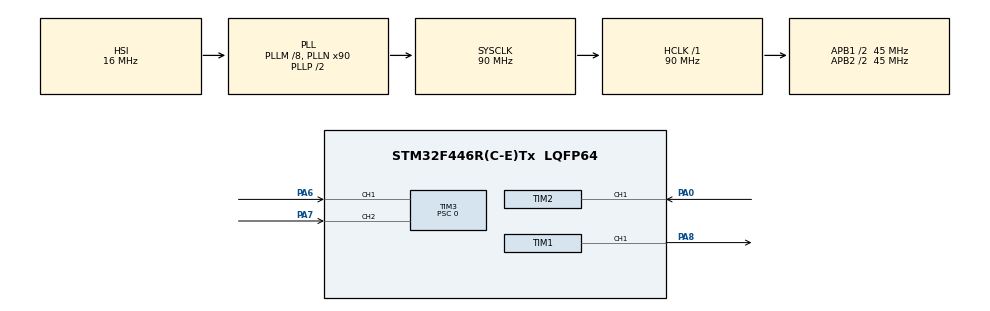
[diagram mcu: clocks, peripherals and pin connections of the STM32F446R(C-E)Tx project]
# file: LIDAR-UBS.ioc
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Mcu.Family=STM32F4
Mcu.Name=STM32F446R(C-E)Tx
Mcu.Package=LQFP64
NVIC.PriorityGroup=NVIC_PRIORITYGROUP_0
NVIC.TIM2_IRQn=true\:0\:1\:false\:false\:true\:true
NVIC.TIM4_IRQn=true\:0\:2\:false\:false\:true\:true
PA0-WKUP.Signal=S_TIM2_CH1_ETR
PA6.Signal=S_TIM3_CH1
PA7.Signal=S_TIM3_CH2
PA8.GPIO_Speed=GPIO_SPEED_FREQ_HIGH
PA8.Signal=S_TIM1_CH1
PH0-OSC_IN.Mode=HSE-External-Oscillator
PH0-OSC_IN.Signal=RCC_OSC_IN
PH1-OSC_OUT.Mode=HSE-External-Oscillator
PH1-OSC_OUT.Signal=RCC_OSC_OUT
ProjectManager.HeapSize=0x200
ProjectManager.StackSize=0x400
ProjectManager.TargetToolchain=MDK-ARM V5
RCC.AHBFreq_Value=90000000
RCC.APB1CLKDivider=RCC_HCLK_DIV2
RCC.APB1Freq_Value=45000000
RCC.APB1TimFreq_Value=90000000
RCC.APB2CLKDivider=RCC_HCLK_DIV2
RCC.APB2Freq_Value=45000000
RCC.APB2TimFreq_Value=90000000
RCC.CortexFreq_Value=90000000
RCC.FLatency-AdvancedSettings=FLASH_LATENCY_2
RCC.HCLKFreq_Value=90000000
RCC.HSE_VALUE=8000000
RCC.HSI_VALUE=16000000
RCC.LSE_VALUE=32768
RCC.PLLM=8
RCC.PLLN=90
RCC.SYSCLKFreq_VALUE=90000000
RCC.SYSCLKSource=RCC_SYSCLKSOURCE_PLLCLK
RCC.USBFreq_Value=90000000
RCC.VCOOutputFreq_Value=180000000
SH.S_TIM1_CH1.0=TIM1_CH1,PWM Generation1 CH1
SH.S_TIM2_CH1_ETR.0=TIM2_CH1,Input_Capture1_from_TI1
SH.S_TIM3_CH1.0=TIM3_CH1,Encoder_Interface
SH.S_TIM3_CH2.0=TIM3_CH2,Encoder_Interface
TIM1.Channel-PWM\ Generation1\ CH1=TIM_CHANNEL_1
TIM1.Period=1800-1
TIM1.Prescaler=1000-1
TIM1.Pulse-PWM\ Generation1\ CH1=500
TIM2.Channel-Input_Capture1_from_TI1=TIM_CHANNEL_1
TIM2.ICFilter_CH1=15
TIM2.Period=40000-1
TIM2.Prescaler=90-1
TIM3.EncoderMode=TIM_ENCODERMODE_TI12
TIM3.Period=8256
TIM3.Prescaler=0
TIM4.Period=10000-1
TIM4.Prescaler=9000-1
VP_TIM4_VS_ClockSourceINT.Mode=Internal
board=NUCLEO-F446RE

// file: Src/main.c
/**
  ******************************************************************************
  * @file           : main.c
  * @brief          : Main program body
  ******************************************************************************
  ** This notice applies to any and all portions of this file
  * that are not between comment pairs USER CODE BEGIN and
  * USER CODE END. Other portions of this file, whether
  * inserted by the user or by software development tools
  * are owned by their respective copyright owners.
  *
  * COPYRIGHT(c) 2018 STMicroelectronics
  *
  * Redistribution and use in source and binary forms, with or without modification,
  * are permitted provided that the following conditions are met:
  *   1. Redistributions of source code must retain the above copyright notice,
  *      this list of conditions and the following disclaimer.
  *   2. Redistributions in binary form must reproduce the above copyright notice,
  *      this list of conditions and the following disclaimer in the documentation
  *      and/or other materials provided with the distribution.
  *   3. Neither the name of STMicroelectronics nor the names of its contributors
  *      may be used to endorse or promote products derived from this software
  *      without specific prior written permission.
  *
  * THIS SOFTWARE IS PROVIDED BY THE COPYRIGHT HOLDERS AND CONTRIBUTORS "AS IS"
  * AND ANY EXPRESS OR IMPLIED WARRANTIES, INCLUDING, BUT NOT LIMITED TO, THE
  * IMPLIED WARRANTIES OF MERCHANTABILITY AND FITNESS FOR A PARTICULAR PURPOSE ARE
  * DISCLAIMED. IN NO EVENT SHALL THE COPYRIGHT HOLDER OR CONTRIBUTORS BE LIABLE
  * FOR ANY DIRECT, INDIRECT, INCIDENTAL, SPECIAL, EXEMPLARY, OR CONSEQUENTIAL
  * DAMAGES (INCLUDING, BUT NOT LIMITED TO, PROCUREMENT OF SUBSTITUTE GOODS OR
  * SERVICES; LOSS OF USE, DATA, OR PROFITS; OR BUSINESS INTERRUPTION) HOWEVER
  * CAUSED AND ON ANY THEORY OF LIABILITY, WHETHER IN CONTRACT, STRICT LIABILITY,
  * OR TORT (INCLUDING NEGLIGENCE OR OTHERWISE) ARISING IN ANY WAY OUT OF THE USE
  * OF THIS SOFTWARE, EVEN IF ADVISED OF THE POSSIBILITY OF SUCH DAMAGE.
  *
  ******************************************************************************
  */
#include "main.h"
#include "stm32f4xx_hal.h"

TIM_HandleTypeDef htim1;
TIM_HandleTypeDef htim2;
TIM_HandleTypeDef htim3;
TIM_HandleTypeDef htim4;

/* USER CODE BEGIN PV */
/* Private variables ---------------------------------------------------------*/

/* USER CODE END PV */

void SystemClock_Config(void);
static void MX_GPIO_Init(void);
static void MX_TIM2_Init(void);
static void MX_TIM1_Init(void);
static void MX_TIM3_Init(void);
static void MX_TIM4_Init(void);
void HAL_TIM_MspPostInit(TIM_HandleTypeDef *htim);

/* USER CODE BEGIN PFP */
/* Private function prototypes -----------------------------------------------*/
uint32_t IC1Valeur, Largeur, Vitesse, DistanceMax=200,VPWM,VPWM2; // Interrupt Capture Value 1, 2
float Distance,RPM2;
int RPM;
/* USER CODE END PFP */

/* USER CODE BEGIN 0 */
void HAL_TIM_IC_CaptureCallback(TIM_HandleTypeDef *htim)
	{
		if(htim -> Instance == TIM2)
			{// Si CH1 est en haut ou en bas
				if(htim -> Channel == HAL_TIM_ACTIVE_CHANNEL_1)
					{ // Si l'entrée de PWM capture est en haut
						if(HAL_GPIO_ReadPin(GPIOA, GPIO_PIN_0)==1)
							{
								TIM2 -> CCER |= TIM_CCER_CC1P;  // polarité de comparaison de sortie sur Bas
								TIM2 -> CNT = 0; // Reset du compteur
							}
						else
							{
								IC1Valeur = HAL_TIM_ReadCapturedValue(htim, TIM_CHANNEL_1); // Lecture de la valeur de CH1
								TIM2 -> CCER &= ~TIM_CCER_CC1P; // polarité de comparaison de sortie sur Haute
								Largeur = IC1Valeur;  // Largeur du signal
								Distance=Largeur/10;   //On divise la signal sur 10 afin d'obtenir la valeur en cm
								VPWM=(1800*Distance)/DistanceMax; //On modifie la distance maximal pour avoir un rapport du 100
								/**** Condition pour ne pas depasser la valeur PWM*/
								if(VPWM>1800)
									VPWM2=1800;
								else
									VPWM2=VPWM;

								TIM1->CCR1=VPWM2; //La valeur est asigné afin d'avoir la PWM
							}
					}
			}
	}
/* USER CODE END 0 */

int main(void)
{

  /* MCU Configuration----------------------------------------------------------*/

  /* Reset of all peripherals, Initializes the Flash interface and the Systick. */
  HAL_Init();

  /* Configure the system clock */
  SystemClock_Config();

  /* Initialize all configured peripherals */
  MX_GPIO_Init();
  MX_TIM2_Init();
  MX_TIM1_Init();
  MX_TIM3_Init();
  MX_TIM4_Init();
  /* USER CODE BEGIN 2 */
	HAL_TIM_PWM_Start(&htim1, TIM_CHANNEL_1); //lancement du PWM sortie
	HAL_TIM_IC_Start_IT(&htim2,TIM_CHANNEL_1); //lancement du PWM Capture
	HAL_TIM_Base_Start_IT(&htim4);	// Lancement du timer 4 afin d'avoir un interruption chaque 1s
  /* USER CODE END 2 */

  /* Infinite loop */
  while (1)
  {

  }

}

void SystemClock_Config(void)
{

  RCC_OscInitTypeDef RCC_OscInitStruct;
  RCC_ClkInitTypeDef RCC_ClkInitStruct;

    /**Configure the main internal regulator output voltage
    */
  __HAL_RCC_PWR_CLK_ENABLE();

  __HAL_PWR_VOLTAGESCALING_CONFIG(PWR_REGULATOR_VOLTAGE_SCALE3);

    /**Initializes the CPU, AHB and APB busses clocks
    */
  RCC_OscInitStruct.OscillatorType = RCC_OSCILLATORTYPE_HSI;
  RCC_OscInitStruct.HSIState = RCC_HSI_ON;
  RCC_OscInitStruct.HSICalibrationValue = 16;
  RCC_OscInitStruct.PLL.PLLState = RCC_PLL_ON;
  RCC_OscInitStruct.PLL.PLLSource = RCC_PLLSOURCE_HSI;
  RCC_OscInitStruct.PLL.PLLM = 8;
  RCC_OscInitStruct.PLL.PLLN = 90;
  RCC_OscInitStruct.PLL.PLLP = RCC_PLLP_DIV2;
  RCC_OscInitStruct.PLL.PLLQ = 2;
  RCC_OscInitStruct.PLL.PLLR = 2;
  if (HAL_RCC_OscConfig(&RCC_OscInitStruct) != HAL_OK)
  {
    _Error_Handler(__FILE__, __LINE__);
  }

    /**Initializes the CPU, AHB and APB busses clocks
    */
  RCC_ClkInitStruct.ClockType = RCC_CLOCKTYPE_HCLK|RCC_CLOCKTYPE_SYSCLK
                              |RCC_CLOCKTYPE_PCLK1|RCC_CLOCKTYPE_PCLK2;
  RCC_ClkInitStruct.SYSCLKSource = RCC_SYSCLKSOURCE_PLLCLK;
  RCC_ClkInitStruct.AHBCLKDivider = RCC_SYSCLK_DIV1;
  RCC_ClkInitStruct.APB1CLKDivider = RCC_HCLK_DIV2;
  RCC_ClkInitStruct.APB2CLKDivider = RCC_HCLK_DIV2;

  if (HAL_RCC_ClockConfig(&RCC_ClkInitStruct, FLASH_LATENCY_2) != HAL_OK)
  {
    _Error_Handler(__FILE__, __LINE__);
  }

    /**Configure the Systick interrupt time
    */
  HAL_SYSTICK_Config(HAL_RCC_GetHCLKFreq()/1000);

    /**Configure the Systick
    */
  HAL_SYSTICK_CLKSourceConfig(SYSTICK_CLKSOURCE_HCLK);

  /* SysTick_IRQn interrupt configuration */
  HAL_NVIC_SetPriority(SysTick_IRQn, 0, 0);
}

/* TIM1 init function */
static void MX_TIM1_Init(void)
{

  TIM_MasterConfigTypeDef sMasterConfig;
  TIM_OC_InitTypeDef sConfigOC;
  TIM_BreakDeadTimeConfigTypeDef sBreakDeadTimeConfig;

  htim1.Instance = TIM1;
  htim1.Init.Prescaler = 1000-1;
  htim1.Init.CounterMode = TIM_COUNTERMODE_UP;
  htim1.Init.Period = 1800-1;
  htim1.Init.ClockDivision = TIM_CLOCKDIVISION_DIV1;
  htim1.Init.RepetitionCounter = 0;
  if (HAL_TIM_PWM_Init(&htim1) != HAL_OK)
  {
    _Error_Handler(__FILE__, __LINE__);
  }

  sMasterConfig.MasterOutputTrigger = TIM_TRGO_RESET;
  sMasterConfig.MasterSlaveMode = TIM_MASTERSLAVEMODE_DISABLE;
  if (HAL_TIMEx_MasterConfigSynchronization(&htim1, &sMasterConfig) != HAL_OK)
  {
    _Error_Handler(__FILE__, __LINE__);
  }

  sConfigOC.OCMode = TIM_OCMODE_PWM1;
  sConfigOC.Pulse = 500;
  sConfigOC.OCPolarity = TIM_OCPOLARITY_HIGH;
  sConfigOC.OCNPolarity = TIM_OCNPOLARITY_HIGH;
  sConfigOC.OCFastMode = TIM_OCFAST_DISABLE;
  sConfigOC.OCIdleState = TIM_OCIDLESTATE_RESET;
  sConfigOC.OCNIdleState = TIM_OCNIDLESTATE_RESET;
  if (HAL_TIM_PWM_ConfigChannel(&htim1, &sConfigOC, TIM_CHANNEL_1) != HAL_OK)
  {
    _Error_Handler(__FILE__, __LINE__);
  }

  sBreakDeadTimeConfig.OffStateRunMode = TIM_OSSR_DISABLE;
  sBreakDeadTimeConfig.OffStateIDLEMode = TIM_OSSI_DISABLE;
  sBreakDeadTimeConfig.LockLevel = TIM_LOCKLEVEL_OFF;
  sBreakDeadTimeConfig.DeadTime = 0;
  sBreakDeadTimeConfig.BreakState = TIM_BREAK_DISABLE;
  sBreakDeadTimeConfig.BreakPolarity = TIM_BREAKPOLARITY_HIGH;
  sBreakDeadTimeConfig.AutomaticOutput = TIM_AUTOMATICOUTPUT_DISABLE;
  if (HAL_TIMEx_ConfigBreakDeadTime(&htim1, &sBreakDeadTimeConfig) != HAL_OK)
  {
    _Error_Handler(__FILE__, __LINE__);
  }

  HAL_TIM_MspPostInit(&htim1);

}

/* TIM2 init function */
static void MX_TIM2_Init(void)
{

  TIM_MasterConfigTypeDef sMasterConfig;
  TIM_IC_InitTypeDef sConfigIC;

  htim2.Instance = TIM2;
  htim2.Init.Prescaler = 90-1;
  htim2.Init.CounterMode = TIM_COUNTERMODE_UP;
  htim2.Init.Period = 40000-1;
  htim2.Init.ClockDivision = TIM_CLOCKDIVISION_DIV1;
  if (HAL_TIM_IC_Init(&htim2) != HAL_OK)
  {
    _Error_Handler(__FILE__, __LINE__);
  }

  sMasterConfig.MasterOutputTrigger = TIM_TRGO_RESET;
  sMasterConfig.MasterSlaveMode = TIM_MASTERSLAVEMODE_DISABLE;
  if (HAL_TIMEx_MasterConfigSynchronization(&htim2, &sMasterConfig) != HAL_OK)
  {
    _Error_Handler(__FILE__, __LINE__);
  }

  sConfigIC.ICPolarity = TIM_INPUTCHANNELPOLARITY_RISING;
  sConfigIC.ICSelection = TIM_ICSELECTION_DIRECTTI;
  sConfigIC.ICPrescaler = TIM_ICPSC_DIV1;
  sConfigIC.ICFilter = 15;
  if (HAL_TIM_IC_ConfigChannel(&htim2, &sConfigIC, TIM_CHANNEL_1) != HAL_OK)
  {
    _Error_Handler(__FILE__, __LINE__);
  }

}

/* TIM3 init function */
static void MX_TIM3_Init(void)
{

  TIM_Encoder_InitTypeDef sConfig;
  TIM_MasterConfigTypeDef sMasterConfig;

  htim3.Instance = TIM3;
  htim3.Init.Prescaler = 0;
  htim3.Init.CounterMode = TIM_COUNTERMODE_UP;
  htim3.Init.Period = 8256;
  htim3.Init.ClockDivision = TIM_CLOCKDIVISION_DIV1;
  sConfig.EncoderMode = TIM_ENCODERMODE_TI12;
  sConfig.IC1Polarity = TIM_ICPOLARITY_RISING;
  sConfig.IC1Selection = TIM_ICSELECTION_DIRECTTI;
  sConfig.IC1Prescaler = TIM_ICPSC_DIV1;
  sConfig.IC1Filter = 0;
  sConfig.IC2Polarity = TIM_ICPOLARITY_RISING;
  sConfig.IC2Selection = TIM_ICSELECTION_DIRECTTI;
  sConfig.IC2Prescaler = TIM_ICPSC_DIV1;
  sConfig.IC2Filter = 0;
  if (HAL_TIM_Encoder_Init(&htim3, &sConfig) != HAL_OK)
  {
    _Error_Handler(__FILE__, __LINE__);
  }

  sMasterConfig.MasterOutputTrigger = TIM_TRGO_RESET;
  sMasterConfig.MasterSlaveMode = TIM_MASTERSLAVEMODE_DISABLE;
  if (HAL_TIMEx_MasterConfigSynchronization(&htim3, &sMasterConfig) != HAL_OK)
  {
    _Error_Handler(__FILE__, __LINE__);
  }

}

/* TIM4 init function */
static void MX_TIM4_Init(void)
{

  TIM_ClockConfigTypeDef sClockSourceConfig;
  TIM_MasterConfigTypeDef sMasterConfig;

  htim4.Instance = TIM4;
  htim4.Init.Prescaler = 9000-1;
  htim4.Init.CounterMode = TIM_COUNTERMODE_UP;
  htim4.Init.Period = 10000-1;
  htim4.Init.ClockDivision = TIM_CLOCKDIVISION_DIV1;
  if (HAL_TIM_Base_Init(&htim4) != HAL_OK)
  {
    _Error_Handler(__FILE__, __LINE__);
  }

  sClockSourceConfig.ClockSource = TIM_CLOCKSOURCE_INTERNAL;
  if (HAL_TIM_ConfigClockSource(&htim4, &sClockSourceConfig) != HAL_OK)
  {
    _Error_Handler(__FILE__, __LINE__);
  }

  sMasterConfig.MasterOutputTrigger = TIM_TRGO_RESET;
  sMasterConfig.MasterSlaveMode = TIM_MASTERSLAVEMODE_DISABLE;
  if (HAL_TIMEx_MasterConfigSynchronization(&htim4, &sMasterConfig) != HAL_OK)
  {
    _Error_Handler(__FILE__, __LINE__);
  }

}

/** Configure pins as
        * Analog
        * Input
        * Output
        * EVENT_OUT
        * EXTI
*/
static void MX_GPIO_Init(void)
{

  /* GPIO Ports Clock Enable */
  __HAL_RCC_GPIOH_CLK_ENABLE();
  __HAL_RCC_GPIOA_CLK_ENABLE();

}

void _Error_Handler(char *file, int line)
{
  while(1)
  {
  }
}

/************************ (C) COPYRIGHT STMicroelectronics *****END OF FILE****/
